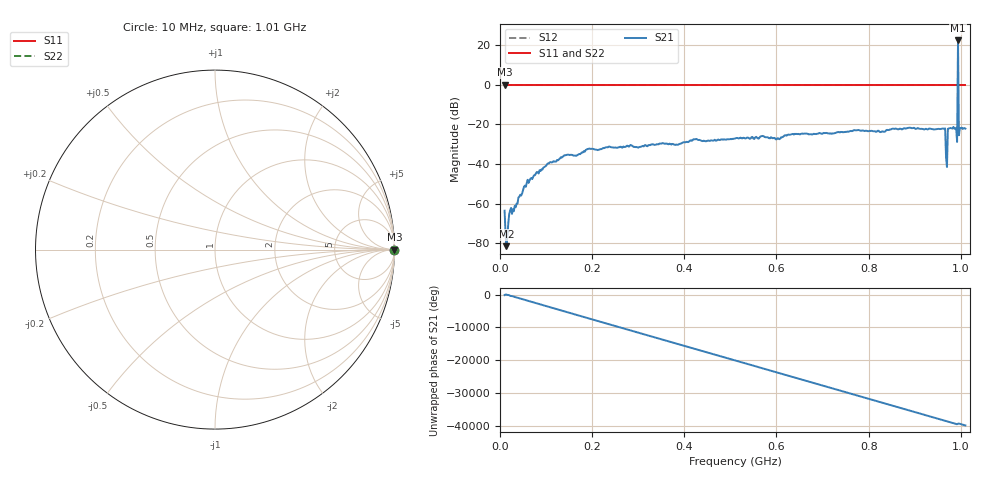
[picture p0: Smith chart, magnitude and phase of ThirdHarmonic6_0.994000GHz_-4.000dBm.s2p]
! 8/16/2025 7:54:43 AM
! C:\ANRITSUVNA\TEMP\TEMP.S2P
! CHANNEL.1
! TR.MEASUREMENT
! RAW.DATA
! RF.CORRECTION.OFF
! AVERAGING.OFF
! IF.BANDWIDTH: 5KHZ
! SWEEPTYPE:  FREQ.SWEEP(Linear)
! Reference Plane Port Info
! PORT:  PORT1  PORT2
! DISTANCE:  0  m  0  m
! TIME:  0  s  0  s
! PHASE.OFFSET:  0  deg.  0  deg.
! LOSS:  0  dB  0  dB
! REF.LOSS:  0  dB  0  dB
! REF.FREQ:  0  Hz  0  Hz
! Power Info
! POWER:  -20  dBm  -20  dBm
! EFF.POWER:  -20  dBm  -20  dBm
! SOURCE.ATTEN:  0  dB  0  dB
! TEST.ATTEN:  0  dB  0  dB
# GHZ S RI R 50.0
! FREQ.GHZ  S11RE  S11IM  S21RE  S21IM  S12RE  S12IM  S22RE  S22IM
!; PortSelection: Port_12
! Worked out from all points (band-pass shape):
!   501 points, 10 MHz to 1.01 GHz, reference 50 ohm
!   highest |S21| = 22.22 dB at 994 MHz (marker M1); lowest = -81.5 dB at 14 MHz (marker M2)
!   |S21| within 3 dB of the highest: 993.8827 MHz to 994.1256 MHz (242.9 kHz wide, 0.0244 % of centre)
!   lowest |S11| = 0.0 dB at 10 MHz (marker M3)
!   |S11| at or under -10 dB: nowhere
!   |S22| runs from 0.0 to 0.0 dB; largest |S21 - S12| = 12
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0.01  1 0  -0.0006 -0.000276  1 0  1 0
0.014  1 0  7.55e-05 -3.75e-05  1 0  1 0
0.016  1 0  -5.24e-05 -0.000138  1 0  1 0
0.024  1 0  -0.000103 -0.00077  1 0  1 0
0.064  1 0  -0.00279 0.00257  1 0  1 0
0.106  1 0  -0.00707 -0.00753  1 0  1 0
0.178  1 0  -0.0189 -0.00476  1 0  1 0
0.344  1 0  0.0306 -0.00503  1 0  1 0
0.51  1 0  -0.042 0.0115  1 0  1 0
0.678  1 0  -0.0158 -0.0527  1 0  1 0
0.844  1 0  0.0381 0.0605  1 0  1 0
0.962  1 0  0.0743 -0.0219  1 0  1 0
0.966  1 0  -0.0783 -0.00159  1 0  1 0
0.968  1 0  -0.01 0.0112  1 0  1 0
0.972  1 0  0.0377 -0.0662  1 0  1 0
0.976  1 0  -0.0607 0.0513  1 0  1 0
0.988  1 0  0.0736 0.0239  1 0  1 0
0.99  1 0  0.0372 -0.072  1 0  1 0
0.994  1 0  11.28 6.306  1 0  1 0
0.998  1 0  0.0708 -0.0356  1 0  1 0
1  1 0  -0.0233 -0.0765  1 0  1 0
1.01  1 0  -0.0691 -0.0352  1 0  1 0
